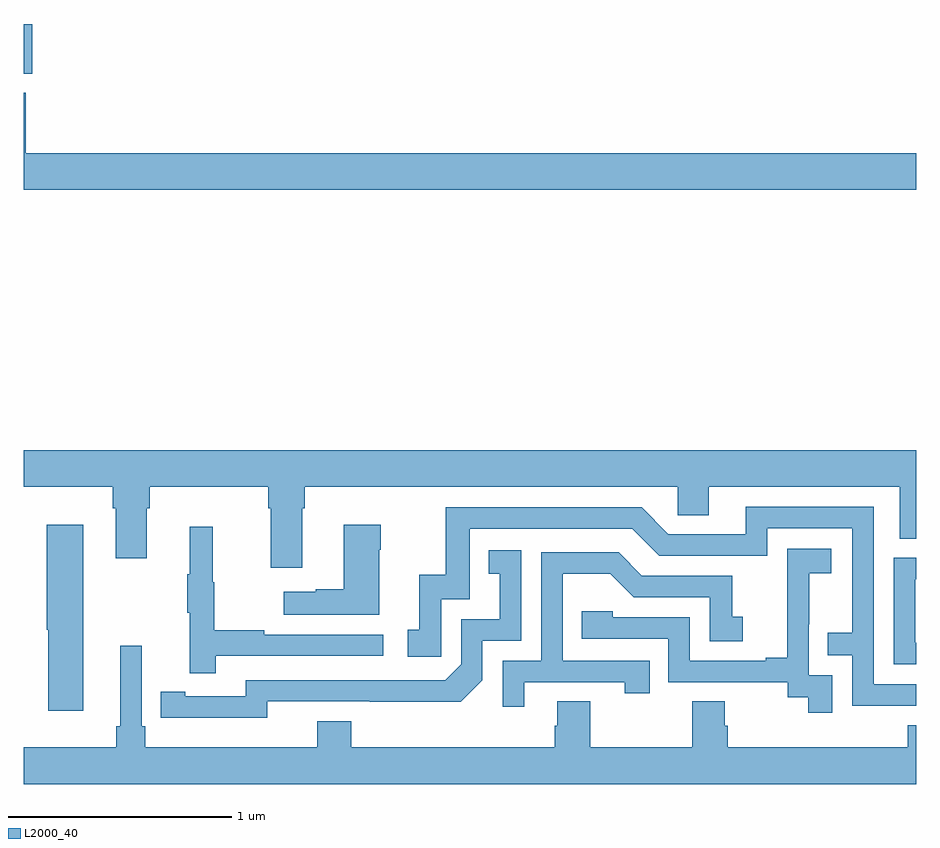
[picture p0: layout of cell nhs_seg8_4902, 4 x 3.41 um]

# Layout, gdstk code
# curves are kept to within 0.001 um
import gdstk
lib = gdstk.Library(unit=1e-6, precision=1e-09)
def R(c, l, rs):  # rectangles x0, y0, x1, y1
    for r in rs: c.add(gdstk.rectangle(r[:2], r[2:], *l))
def P(c, l, *ps):  # polygons
    for p in ps: c.add(gdstk.Polygon(p, *l))
L2000_40 = (2000, 40)

nhs_seg8_4902 = lib.new_cell('nhs_seg8_4902')
R(nhs_seg8_4902, L2000_40, [(407,1127.676,407.038,1127.9)])
P(nhs_seg8_4902, L2000_40, [(411,1127.32),(407.008,1127.32),(407.008,1127.591),(407,1127.591),(407,1127.156),(411,1127.156)],
  [(408.247,1125.728),(408.26,1125.728),(408.26,1125.824),(409.932,1125.824),(409.932,1125.697),(410.071,1125.697),(410.071,1125.824),(410.927,1125.824),(410.927,1125.592),(411,1125.592),(411,1125.988),(407,1125.988),(407,1125.824),(407.399,1125.824),(407.399,1125.728),(407.411,1125.728),(407.411,1125.504),(407.551,1125.504),(407.551,1125.728),(407.564,1125.728),(407.564,1125.824),(408.095,1125.824),(408.095,1125.728),(408.107,1125.728),(408.107,1125.462),(408.247,1125.462)],
  [(411,1124.94),(410.811,1124.94),(410.811,1125.735),(410.237,1125.735),(410.237,1125.612),(409.89,1125.612),(409.77,1125.732),(408.891,1125.732),(408.891,1125.43),(408.773,1125.43),(408.773,1125.183),(408.72,1125.183),(408.72,1125.063),(408.87,1125.063),(408.87,1125.321),(408.999,1125.321),(408.999,1125.636),(409.728,1125.636),(409.848,1125.516),(410.334,1125.516),(410.334,1125.639),(410.715,1125.639),(410.715,1125.17),(410.605,1125.17),(410.605,1125.069),(410.715,1125.069),(410.715,1124.844),(411,1124.844)],
  [(408.592,1125.542),(408.6,1125.542),(408.6,1125.655),(408.434,1125.655),(408.434,1125.365),(408.308,1125.365),(408.308,1125.355),(408.165,1125.355),(408.165,1125.251),(408.592,1125.251)],
  [(407.266,1125.655),(407.102,1125.655),(407.102,1125.183),(407.108,1125.183),(407.108,1124.82),(407.266,1124.82)],
  [(407.861,1125.066),(408.61,1125.066),(408.61,1125.162),(408.077,1125.162),(408.077,1125.182),(407.854,1125.182),(407.854,1125.396),(407.846,1125.396),(407.846,1125.646),(407.744,1125.646),(407.744,1125.433),(407.733,1125.433),(407.733,1125.259),(407.744,1125.259),(407.744,1124.988),(407.861,1124.988)],
  [(410.625,1124.979),(410.52,1124.979),(410.52,1125.209),(410.522,1125.209),(410.522,1125.437),(410.62,1125.437),(410.62,1125.547),(410.422,1125.547),(410.422,1125.341),(410.423,1125.341),(410.423,1125.058),(410.327,1125.058),(410.327,1125.045),(409.986,1125.045),(409.986,1125.24),(409.641,1125.24),(409.641,1125.267),(409.501,1125.267),(409.501,1125.144),(409.89,1125.144),(409.89,1124.949),(410.424,1124.949),(410.424,1124.881),(410.517,1124.881),(410.517,1124.811),(410.625,1124.811)],
  [(408.09,1124.862),(408.958,1124.861),(409.056,1124.958),(409.056,1125.135),(409.23,1125.135),(409.23,1125.541),(409.084,1125.541),(409.084,1125.435),(409.133,1125.435),(409.133,1125.231),(408.96,1125.231),(408.96,1125.03),(408.888,1124.958),(407.994,1124.958),(407.994,1124.886),(407.722,1124.886),(407.722,1124.906),(407.614,1124.906),(407.614,1124.79),(408.09,1124.789)],
  [(409.243,1124.949),(409.694,1124.949),(409.694,1124.898),(409.805,1124.898),(409.805,1125.045),(409.416,1125.045),(409.416,1125.434),(409.63,1125.434),(409.734,1125.33),(410.076,1125.33),(410.076,1125.132),(410.224,1125.132),(410.224,1125.241),(410.175,1125.241),(410.175,1125.426),(409.771,1125.426),(409.666,1125.531),(409.32,1125.531),(409.32,1125.045),(409.146,1125.045),(409.146,1124.838),(409.243,1124.838)],
  [(411,1125.126),(410.997,1125.126),(410.997,1125.411),(411,1125.411),(411,1125.507),(410.901,1125.507),(410.901,1125.03),(411,1125.03)],
  [(411,1124.755),(410.963,1124.755),(410.963,1124.656),(410.156,1124.656),(410.156,1124.754),(410.143,1124.754),(410.143,1124.864),(409.996,1124.864),(409.996,1124.656),(409.539,1124.656),(409.539,1124.864),(409.391,1124.864),(409.391,1124.754),(409.379,1124.754),(409.379,1124.656),(408.467,1124.656),(408.467,1124.773),(408.314,1124.773),(408.314,1124.656),(407.543,1124.656),(407.543,1124.752),(407.529,1124.752),(407.529,1125.112),(407.432,1125.112),(407.432,1124.752),(407.413,1124.752),(407.413,1124.656),(407,1124.656),(407,1124.492),(411,1124.492)])

lib.write_gds('nhs_seg8_4902.gds')
